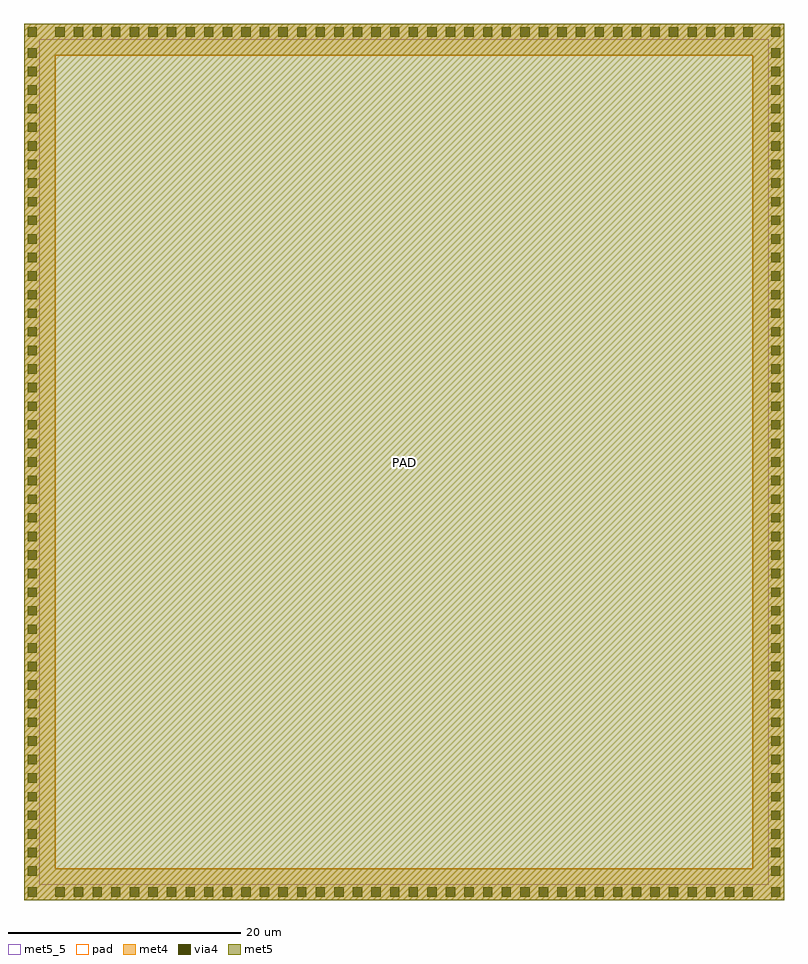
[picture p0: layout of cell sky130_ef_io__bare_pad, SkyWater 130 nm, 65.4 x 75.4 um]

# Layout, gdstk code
import gdstk
lib = gdstk.Library(unit=1e-6, precision=1e-09)
def R(c, l, rs):  # rectangles x0, y0, x1, y1
    for r in rs: c.add(gdstk.rectangle(r[:2], r[2:], *l))
def A(c, l, x, y, w, h, nx, ny, dx, dy):  # array of equal rectangles
    R(c, l, [(x+i*dx, y+j*dy, x+i*dx+w, y+j*dy+h) for i in range(nx) for j in range(ny)])
met4 = (71, 20)
via4 = (71, 44)
met5_5 = (72, 5)
met5 = (72, 20)
pad = (76, 20)

sky130_ef_io__bare_pad = lib.new_cell('sky130_ef_io__bare_pad')
R(sky130_ef_io__bare_pad, met4, [(-2.7,-2.7,62.7,0), (-2.7,0,0,70), (60,0,62.7,70), (-2.7,70,62.7,72.7)])
A(sky130_ef_io__bare_pad, via4, 0, -2.39, 0.8, 0.8, 38, 2, 1.6, 73.98)
A(sky130_ef_io__bare_pad, via4, -2.39, -0.6, 0.8, 0.8, 1, 45, 0, 1.6)
A(sky130_ef_io__bare_pad, via4, 61.59, -0.6, 0.8, 0.8, 1, 45, 0, 1.6)
R(sky130_ef_io__bare_pad, via4, [(-2.39,-2.39,-1.59,-1.59), (61.59,-2.39,62.39,-1.59), (-2.39,71.59,-1.59,72.39), (61.59,71.59,62.39,72.39)])
R(sky130_ef_io__bare_pad, met5_5, [(-1.4,-1.4,61.4,71.4)])
R(sky130_ef_io__bare_pad, met5, [(-2.7,-2.7,62.7,72.7)])
R(sky130_ef_io__bare_pad, pad, [(0,0,60,70)])
sky130_ef_io__bare_pad.add(gdstk.Label('PAD', (30,35), layer=72, texttype=5))

lib.write_gds('sky130_ef_io__bare_pad.gds')
